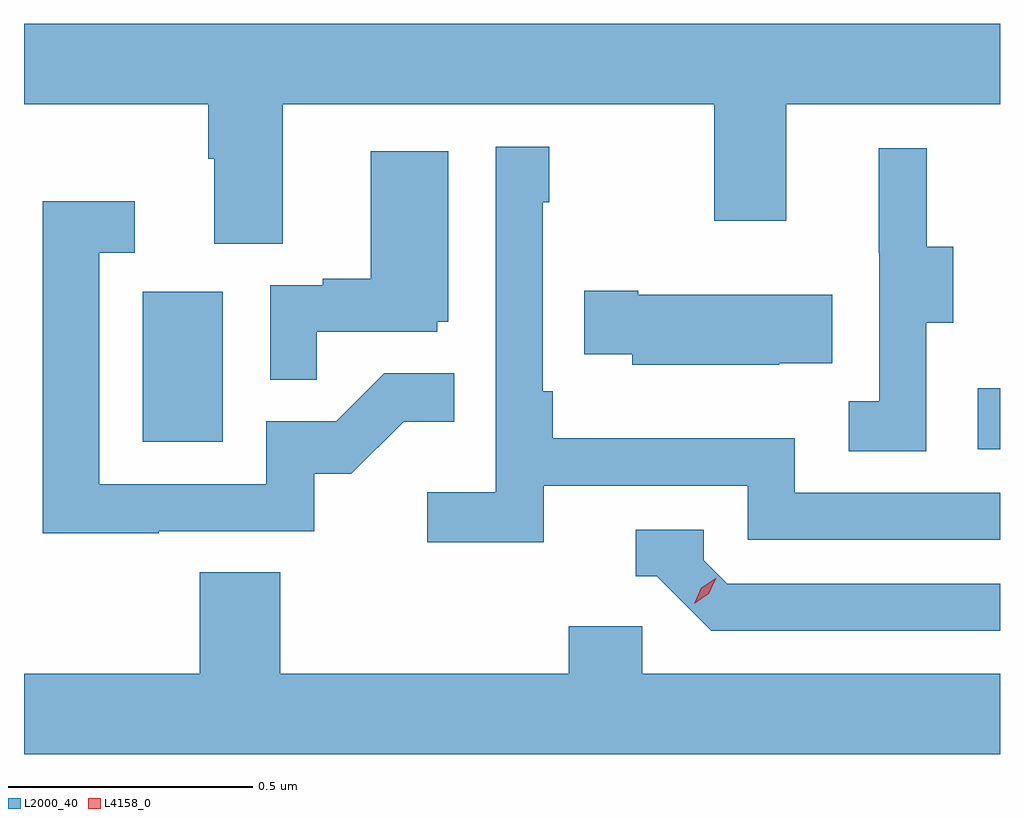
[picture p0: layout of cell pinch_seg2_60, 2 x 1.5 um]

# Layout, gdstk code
import gdstk
lib = gdstk.Library(unit=1e-6, precision=1e-09)
def R(c, l, rs):  # rectangles x0, y0, x1, y1
    for r in rs: c.add(gdstk.rectangle(r[:2], r[2:], *l))
def P(c, l, *ps):  # polygons
    for p in ps: c.add(gdstk.Polygon(p, *l))
L2000_40 = (2000, 40)
L4158_0 = (4158, 0)

pinch_seg2_60 = lib.new_cell('pinch_seg2_60')
R(pinch_seg2_60, L2000_40, [(1046.595,664.245,1046.641,664.37), (1044.884,664.26,1045.048,664.567)])
P(pinch_seg2_60, L2000_40, [(1045.171,664.952),(1046.055,664.952),(1046.055,664.713),(1046.203,664.713),(1046.203,664.952),(1046.641,664.952),(1046.641,665.116),(1044.641,665.116),(1044.641,664.952),(1045.019,664.952),(1045.019,664.84),(1045.031,664.84),(1045.031,664.666),(1045.171,664.666)],
  [(1045.706,664.17),(1046.124,664.17),(1046.124,664.059),(1046.641,664.059),(1046.641,664.155),(1046.22,664.155),(1046.22,664.267),(1045.724,664.267),(1045.724,664.363),(1045.704,664.363),(1045.704,664.751),(1045.717,664.751),(1045.717,664.864),(1045.608,664.864),(1045.608,664.156),(1045.467,664.156),(1045.467,664.054),(1045.706,664.054)],
  [(1046.49,664.504),(1046.545,664.504),(1046.545,664.659),(1046.491,664.659),(1046.491,664.861),(1046.393,664.861),(1046.393,664.647),(1046.394,664.647),(1046.394,664.343),(1046.331,664.343),(1046.331,664.24),(1046.49,664.24)],
  [(1045.241,664.485),(1045.488,664.485),(1045.488,664.506),(1045.51,664.506),(1045.51,664.855),(1045.352,664.855),(1045.352,664.594),(1045.253,664.594),(1045.253,664.581),(1045.146,664.581),(1045.146,664.387),(1045.241,664.387)],
  [(1044.917,664.077),(1045.236,664.077),(1045.236,664.194),(1045.312,664.194),(1045.419,664.301),(1045.523,664.301),(1045.523,664.4),(1045.379,664.4),(1045.281,664.302),(1045.137,664.302),(1045.137,664.173),(1044.795,664.173),(1044.795,664.647),(1044.868,664.647),(1044.868,664.753),(1044.679,664.753),(1044.679,664.072),(1044.917,664.072)],
  [(1046.189,664.421),(1046.297,664.421),(1046.297,664.561),(1045.9,664.561),(1045.9,664.569),(1045.789,664.569),(1045.789,664.439),(1045.887,664.439),(1045.887,664.418),(1046.189,664.418)],
  [(1046.641,663.969),(1046.082,663.969),(1046.034,664.017),(1046.034,664.08),(1045.895,664.08),(1045.895,663.984),(1045.938,663.984),(1046.049,663.873),(1046.641,663.873)],
  [(1046.641,663.784),(1045.908,663.784),(1045.908,663.882),(1045.757,663.882),(1045.757,663.784),(1045.166,663.784),(1045.166,663.992),(1045.001,663.992),(1045.001,663.784),(1044.641,663.784),(1044.641,663.62),(1046.641,663.62)])
P(pinch_seg2_60, L4158_0, [(1046.014,663.928),(1046.014,663.928),(1046.029,663.961),(1046.06,663.981),(1046.06,663.981),(1046.06,663.981),(1046.044,663.948),(1046.014,663.928)])

lib.write_gds('pinch_seg2_60.gds')
